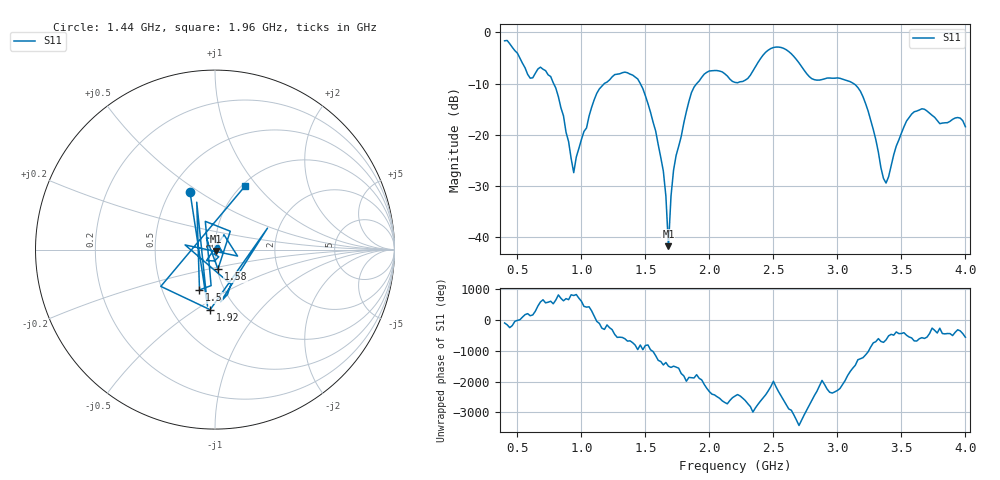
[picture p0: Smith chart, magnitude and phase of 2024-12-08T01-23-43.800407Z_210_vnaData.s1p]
!Created with skrf (http://scikit-rf.org).
# Hz S RI R 50.0
!freq ReS11 ImS11
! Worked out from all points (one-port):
!   181 points, 400 MHz to 4 GHz, reference 50 ohm
!   lowest |S11| = -41.7 dB at 1.68 GHz (marker M1), VSWR 1.02, Z = 50.4 - j0.73 ohm
!   |S11| at or under -10 dB: 783.4 MHz to 1.178 GHz (394.7 MHz wide, 40.2 % of centre); 1.461 GHz to 1.9 GHz (439.6 MHz wide, 26.2 % of centre); 3.127 GHz to end of sweep
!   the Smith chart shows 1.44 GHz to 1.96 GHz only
!   S11 on the Smith chart (normalised r, x): 1.44 GHz: 0.62, +0.46; 1.5 GHz: 0.77, -0.37; 1.58 GHz: 1.01, -0.22; 1.92 GHz: 0.76, -0.57; 1.96 GHz: 1.03, +0.87
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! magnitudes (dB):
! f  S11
! 400 MHz  -1.6
! 600 MHz  -8.9
! 760 MHz  -8.6
! 860 MHz  -16.3
! 940 MHz  -27.4
! 1.12 GHz  -11.9
! 1.3 GHz  -8.1
! 1.44 GHz  -9.1
! 1.5 GHz  -12.4
! 1.58 GHz  -19.2
! 1.64 GHz  -27.1
! 1.66 GHz  -32.0
! 1.68 GHz  -41.7
! 1.7 GHz  -32.0
! 1.72 GHz  -26.9
! 1.76 GHz  -22.2
! 1.86 GHz  -11.7
! 1.92 GHz  -9.5
! 1.96 GHz  -8.1
! 2.2 GHz  -9.7
! 2.48 GHz  -3.1
! 2.66 GHz  -4.7
! 2.8 GHz  -9.0
! 3.1 GHz  -9.6
! 3.22 GHz  -13.9
! 3.38 GHz  -29.4
! 3.56 GHz  -16.6
! 4 GHz  -18.4
